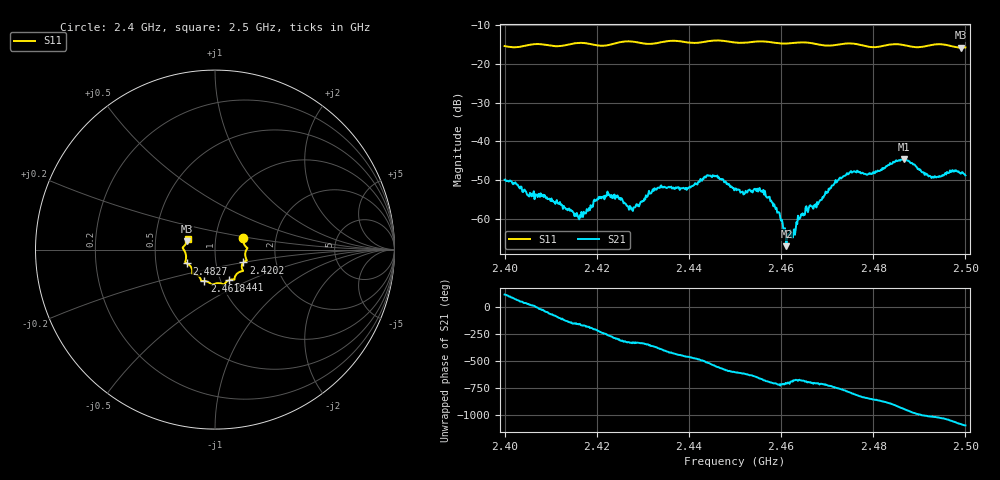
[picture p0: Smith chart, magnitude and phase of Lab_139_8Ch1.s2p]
# Hz S RI R 50
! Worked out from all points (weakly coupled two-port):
!   601 points, 2.4 GHz to 2.5 GHz, reference 50 ohm
!   highest |S21| = -44.58 dB at 2.4867 GHz (marker M1); lowest = -67.1 dB at 2.4612 GHz (marker M2)
!   lowest |S11| = -15.8 dB at 2.499 GHz (marker M3), VSWR 1.39, Z = 36.4 + j3.47 ohm
!   |S11| at or under -10 dB: start of sweep to end of sweep
!   S12 and S22 are empty: the file has one direction only
!   S11 on the Smith chart (normalised r, x): 2.4 GHz: 1.36, +0.18; 2.4202 GHz: 1.36, -0.20; 2.441 GHz: 1.10, -0.39; 2.4618 GHz: 0.84, -0.30; 2.4827 GHz: 0.72, -0.12; 2.5 GHz: 0.73, +0.09
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2.4e9  0.1583 0.0631  -0.00133 0.00291  0 0  0 0
2.416667e9  0.1774 -0.061  -0.00121 -0.000202  0 0  0 0
2.420167e9  0.1584 -0.0713  -0.00141 0.00117  0 0  0 0
2.424167e9  0.1516 -0.1079  0.000864 0.0018  0 0  0 0
2.427833e9  0.1532 -0.1195  0.00108 0.000664  0 0  0 0
2.433333e9  0.1115 -0.1509  0.00232 -0.001  0 0  0 0
2.441e9  0.0788 -0.1698  -0.00116 -0.00245  0 0  0 0
2.445667e9  0.0506 -0.1946  -0.00352 0.000402  0 0  0 0
2.45e9  0.0284 -0.1874  -0.00104 0.00222  0 0  0 0
2.456e9  -0.0162 -0.195  0.00148 0.00163  0 0  0 0
2.459167e9  -0.034 -0.183  0.0012 8.3e-05  0 0  0 0
2.461167e9  -0.0525 -0.1761  0.000438 7.35e-05  0 0  0 0
2.461833e9  -0.0592 -0.1754  0.000618 8.51e-05  0 0  0 0
2.464167e9  -0.074 -0.1752  0.000794 0.000661  0 0  0 0
2.466667e9  -0.0786 -0.1681  0.00137 0.00045  0 0  0 0
2.474667e9  -0.1268 -0.134  0.00143 -0.00352  0 0  0 0
2.482667e9  -0.156 -0.0773  -0.00442 -0.00151  0 0  0 0
2.483333e9  -0.1603 -0.0752  -0.0049 -0.000846  0 0  0 0
2.486667e9  -0.1641 -0.0625  -0.00419 0.00416  0 0  0 0
2.492667e9  -0.1762 0.00276  0.00146 0.00304  0 0  0 0
2.499e9  -0.1556 0.0463  0.00382 -0.000264  0 0  0 0
2.5e9  -0.1522 0.0608  0.00347 -0.00111  0 0  0 0
